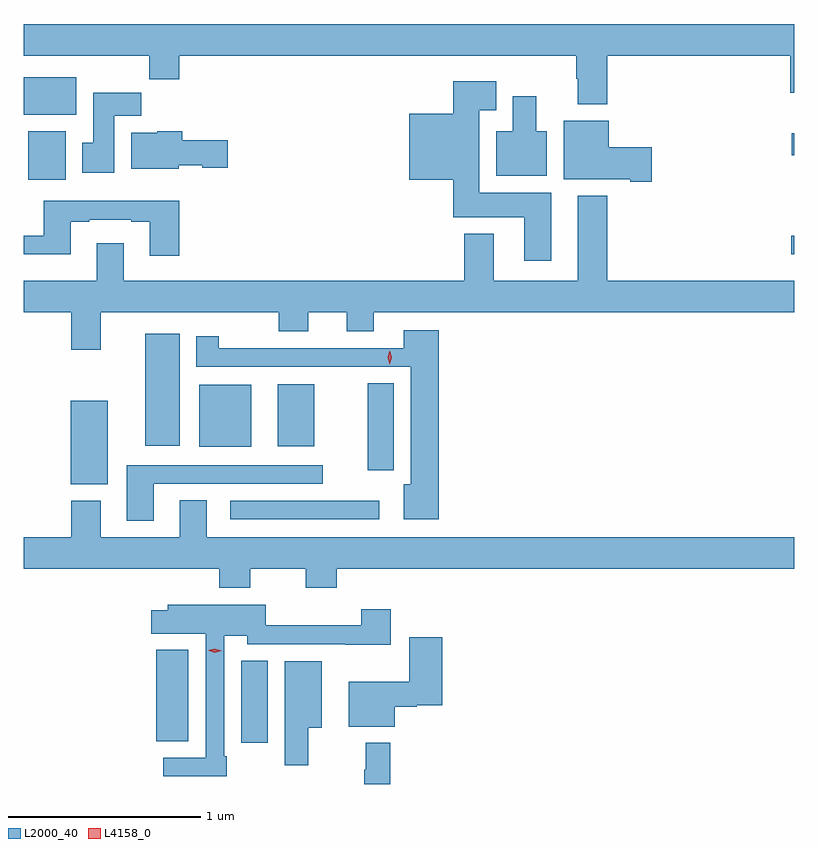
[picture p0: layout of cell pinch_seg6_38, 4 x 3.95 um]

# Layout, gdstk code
import gdstk
lib = gdstk.Library(unit=1e-6, precision=1e-09)
def R(c, l, rs):  # rectangles x0, y0, x1, y1
    for r in rs: c.add(gdstk.rectangle(r[:2], r[2:], *l))
def P(c, l, *ps):  # polygons
    for p in ps: c.add(gdstk.Polygon(p, *l))
L2000_40 = (2000, 40)
L4158_0 = (4158, 0)

pinch_seg6_38 = lib.new_cell('pinch_seg6_38')
R(pinch_seg6_38, L2000_40, [(951.461,967.746,951.598,968.171), (951.02,967.753,951.187,968.227), (951.405,968.904,952.177,969), (950.576,969.086,950.767,969.52), (952.118,969.159,952.252,969.611), (951.242,969.281,951.514,969.604), (951.65,969.284,951.841,969.607), (950.963,969.287,951.142,969.868), (954.315,970.28,954.332,970.377), (950.355,970.668,950.551,970.918), (954.32,970.796,954.332,970.909), (950.332,971.006,950.605,971.2)])
P(pinch_seg6_38, L2000_40, [(953.36,971.312),(954.311,971.312),(954.311,971.118),(954.332,971.118),(954.332,971.476),(950.332,971.476),(950.332,971.312),(950.983,971.312),(950.983,971.188),(951.14,971.188),(951.14,971.312),(953.2,971.312),(953.2,971.192),(953.207,971.192),(953.207,971.06),(953.36,971.06)],
  [(953.071,970.6),(952.696,970.6),(952.696,971.027),(952.786,971.027),(952.786,971.179),(952.562,971.179),(952.562,971.011),(952.334,971.011),(952.334,970.667),(952.562,970.667),(952.562,970.472),(952.931,970.472),(952.931,970.248),(953.071,970.248)],
  [(950.803,971),(950.942,971),(950.942,971.118),(950.693,971.118),(950.693,970.86),(950.636,970.86),(950.636,970.704),(950.803,970.704)],
  [(953.047,970.918),(952.993,970.918),(952.993,971.101),(952.871,971.101),(952.871,970.918),(952.784,970.918),(952.784,970.688),(953.047,970.688)],
  [(953.593,970.836),(953.368,970.836),(953.368,970.975),(953.135,970.975),(953.135,970.67),(953.48,970.67),(953.48,970.658),(953.593,970.658)],
  [(951.138,970.742),(951.258,970.742),(951.258,970.73),(951.391,970.73),(951.391,970.872),(951.155,970.872),(951.155,970.918),(951.024,970.918),(951.024,970.912),(950.891,970.912),(950.891,970.724),(951.138,970.724)],
  [(950.731,969.98),(951.656,969.98),(951.656,969.881),(951.808,969.881),(951.808,969.98),(952.01,969.98),(952.01,969.881),(952.15,969.881),(952.15,969.98),(954.332,969.98),(954.332,970.144),(953.36,970.144),(953.36,970.585),(953.207,970.585),(953.207,970.144),(952.771,970.144),(952.771,970.387),(952.619,970.387),(952.619,970.144),(950.851,970.144),(950.851,970.339),(950.711,970.339),(950.711,970.144),(950.332,970.144),(950.332,969.98),(950.579,969.98),(950.579,969.786),(950.731,969.786)],
  [(951.14,970.558),(950.435,970.558),(950.435,970.377),(950.332,970.377),(950.332,970.28),(950.575,970.28),(950.575,970.449),(950.671,970.449),(950.671,970.461),(950.891,970.461),(950.891,970.449),(950.987,970.449),(950.987,970.272),(951.14,970.272)],
  [(952.487,969.886),(952.304,969.886),(952.304,969.792),(951.572,969.792),(951.572,969.794),(951.345,969.794),(951.345,969.856),(951.227,969.856),(951.227,969.696),(952.34,969.696),(952.34,969.088),(952.304,969.088),(952.304,968.906),(952.487,968.906)],
  [(951.007,969.09),(951.883,969.09),(951.883,969.186),(950.867,969.186),(950.867,968.898),(951.007,968.898)],
  [(951.507,968.648),(951.796,968.648),(951.796,968.549),(951.956,968.549),(951.956,968.648),(954.332,968.648),(954.332,968.812),(951.283,968.812),(951.283,969.005),(951.143,969.005),(951.143,968.812),(950.731,968.812),(950.731,969.001),(950.579,969.001),(950.579,968.812),(950.332,968.812),(950.332,968.648),(951.347,968.648),(951.347,968.549),(951.507,968.549)],
  [(951.385,967.675),(951.372,967.675),(951.372,968.3),(951.492,968.3),(951.492,968.256),(952.001,968.256),(952.001,968.255),(952.237,968.255),(952.237,968.437),(952.085,968.437),(952.085,968.354),(951.588,968.354),(951.588,968.461),(951.081,968.461),(951.081,968.434),(950.994,968.434),(950.994,968.312),(951.276,968.312),(951.276,967.668),(951.057,967.668),(951.057,967.572),(951.385,967.572)],
  [(952.258,967.933),(952.371,967.933),(952.371,967.94),(952.505,967.94),(952.505,968.293),(952.334,968.293),(952.334,968.062),(952.019,968.062),(952.019,967.829),(952.258,967.829)],
  [(951.808,967.823),(951.88,967.823),(951.88,968.167),(951.686,968.167),(951.686,967.629),(951.808,967.629)],
  [(952.235,967.744),(952.107,967.744),(952.107,967.604),(952.099,967.604),(952.099,967.531),(952.235,967.531)])
P(pinch_seg6_38, L4158_0, [(952.233,969.709),(952.233,969.709),(952.222,969.745),(952.232,969.781),(952.232,969.781),(952.232,969.781),(952.242,969.745),(952.233,969.709)],
  [(951.324,968.213),(951.289,968.224),(951.289,968.224),(951.289,968.224),(951.324,968.233),(951.359,968.222),(951.359,968.222),(951.359,968.222)])

lib.write_gds('pinch_seg6_38.gds')
